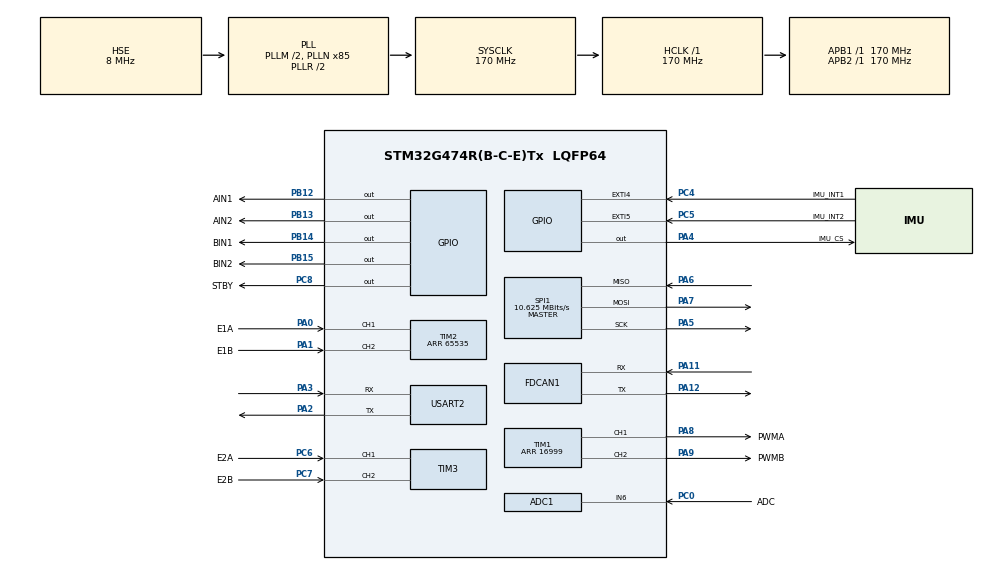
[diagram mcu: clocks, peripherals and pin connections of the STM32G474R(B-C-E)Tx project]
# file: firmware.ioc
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ADC1.Channel-0\#ChannelRegularConversion=ADC_CHANNEL_6
ADC1.NbrOfConversionFlag=1
ADC1.OffsetNumber-0\#ChannelRegularConversion=ADC_OFFSET_NONE
ADC1.Rank-0\#ChannelRegularConversion=1
ADC1.SamplingTime-0\#ChannelRegularConversion=ADC_SAMPLETIME_247CYCLES_5
ADC1.master=1
FDCAN1.CalculateBaudRateNominal=500000
FDCAN1.CalculateBaudRateData=2000000
FDCAN1.CalculateTimeBitData=500
FDCAN1.CalculateTimeBitNominal=2000
FDCAN1.CalculateTimeQuantumData=29.41176470588235
FDCAN1.CalculateTimeQuantumNominal=100.0
FDCAN1.AutoRetransmission=ENABLE
FDCAN1.DataPrescaler=5
FDCAN1.DataSyncJumpWidth=3
FDCAN1.DataTimeSeg1=13
FDCAN1.DataTimeSeg2=3
FDCAN1.FrameFormat=FDCAN_FRAME_FD_BRS
FDCAN1.NominalPrescaler=17
FDCAN1.NominalSyncJumpWidth=4
FDCAN1.NominalTimeSeg1=15
FDCAN1.NominalTimeSeg2=4
FDCAN1.ProtocolException=ENABLE
FDCAN1.StdFiltersNbr=1
FDCAN1.TransmitPause=ENABLE
FREERTOS.Tasks01=SupervisorTask,48,512,StartSupervisorTask,Default,NULL,Dynamic,NULL,NULL
FREERTOS.configCHECK_FOR_STACK_OVERFLOW=2
FREERTOS.configTOTAL_HEAP_SIZE=32768
FREERTOS.configUSE_MALLOC_FAILED_HOOK=1
IWDG.Prescaler=IWDG_PRESCALER_64
IWDG.Reload=1999
IWDG.Window=4095
Mcu.Family=STM32G4
Mcu.Name=STM32G474R(B-C-E)Tx
Mcu.Package=LQFP64
NVIC.EXTI4_IRQn=true\:5\:0\:true\:false\:true\:true\:true\:true\:true
NVIC.EXTI9_5_IRQn=true\:5\:0\:true\:false\:true\:true\:true\:true\:true
NVIC.FDCAN1_IT0_IRQn=true\:5\:0\:true\:false\:true\:true\:true\:true\:true
NVIC.PriorityGroup=NVIC_PRIORITYGROUP_4
NVIC.TIM6_DAC_IRQn=true\:15\:0\:false\:false\:true\:false\:false\:true\:true
NVIC.TimeBase=TIM6_DAC_IRQn
NVIC.TimeBaseIP=TIM6
NVIC.USART2_IRQn=true\:5\:0\:true\:false\:true\:true\:true\:true\:true
PA0.GPIO_Label=E1A
PA0.GPIO_PuPd=GPIO_PULLUP
PA0.Signal=S_TIM2_CH1
PA1.GPIO_Label=E1B
PA1.GPIO_PuPd=GPIO_PULLUP
PA1.Signal=S_TIM2_CH2
PA11.Mode=FDCAN_Activate
PA11.Signal=FDCAN1_RX
PA12.Mode=FDCAN_Activate
PA12.Signal=FDCAN1_TX
PA13.Mode=Serial_Wire
PA13.Signal=SYS_JTMS-SWDIO
PA14.Mode=Serial_Wire
PA14.Signal=SYS_JTCK-SWCLK
PA2.Mode=Asynchronous
PA2.Signal=USART2_TX
PA3.Mode=Asynchronous
PA3.Signal=USART2_RX
PA4.GPIO_Label=IMU_CS
PA4.PinState=GPIO_PIN_SET
PA4.Signal=GPIO_Output
PA5.Mode=Full_Duplex_Master
PA5.Signal=SPI1_SCK
PA6.Mode=Full_Duplex_Master
PA6.Signal=SPI1_MISO
PA7.Mode=Full_Duplex_Master
PA7.Signal=SPI1_MOSI
PA8.GPIO_Label=PWMA
PA8.Signal=S_TIM1_CH1
PA9.GPIO_Label=PWMB
PA9.Signal=S_TIM1_CH2
PB12.GPIO_Label=AIN1
PB12.Signal=GPIO_Output
PB13.GPIO_Label=AIN2
PB13.Signal=GPIO_Output
PB14.GPIO_Label=BIN1
PB14.Signal=GPIO_Output
PB15.GPIO_Label=BIN2
PB15.Signal=GPIO_Output
PC0.GPIO_Label=ADC
PC0.Mode=IN6-Single-Ended
PC0.Signal=ADC1_IN6
PC4.GPIO_Label=IMU_INT1
PC4.GPIO_PuPd=GPIO_PULLDOWN
PC4.Signal=GPXTI4
PC5.GPIO_Label=IMU_INT2
PC5.GPIO_PuPd=GPIO_PULLDOWN
PC5.Signal=GPXTI5
PC6.GPIO_Label=E2A
PC6.GPIO_PuPd=GPIO_PULLUP
PC6.Signal=S_TIM3_CH1
PC7.GPIO_Label=E2B
PC7.GPIO_PuPd=GPIO_PULLUP
PC7.Signal=S_TIM3_CH2
PC8.GPIO_Label=STBY
PC8.PinState=GPIO_PIN_RESET
PC8.Signal=GPIO_Output
PF0-OSC_IN.Mode=HSE-External-Oscillator
PF0-OSC_IN.Signal=RCC_OSC_IN
PF1-OSC_OUT.Mode=HSE-External-Oscillator
PF1-OSC_OUT.Signal=RCC_OSC_OUT
ProjectManager.HeapSize=0x200
ProjectManager.StackSize=0x400
ProjectManager.TargetToolchain=CMake
RCC.ADC12Freq_Value=170000000
RCC.ADC345Freq_Value=170000000
RCC.AHBFreq_Value=170000000
RCC.APB1Freq_Value=170000000
RCC.APB1TimFreq_Value=170000000
RCC.APB2Freq_Value=170000000
RCC.APB2TimFreq_Value=170000000
RCC.CortexFreq_Value=170000000
RCC.EXTERNAL_CLOCK_VALUE=12288000
RCC.HCLKFreq_Value=170000000
RCC.HSE_VALUE=8000000
RCC.HSI48_VALUE=48000000
RCC.HSI_VALUE=16000000
RCC.LSE_VALUE=32768
RCC.PLLM=RCC_PLLM_DIV2
RCC.PLLN=85
RCC.PLLSourceVirtual=RCC_PLLSOURCE_HSE
RCC.SYSCLKFreq_VALUE=170000000
RCC.SYSCLKSource=RCC_SYSCLKSOURCE_PLLCLK
RCC.USBFreq_Value=170000000
RCC.VCOOutputFreq_Value=340000000
SH.S_TIM1_CH1.0=TIM1_CH1,PWM Generation1 CH1
SH.S_TIM1_CH2.0=TIM1_CH2,PWM Generation2 CH2
SH.S_TIM2_CH1.0=TIM2_CH1,Encoder_Interface
SH.S_TIM2_CH2.0=TIM2_CH2,Encoder_Interface
SH.S_TIM3_CH1.0=TIM3_CH1,Encoder_Interface
SH.S_TIM3_CH2.0=TIM3_CH2,Encoder_Interface
SPI1.BaudRatePrescaler=SPI_BAUDRATEPRESCALER_16
SPI1.CalculateBaudRate=10.625 MBits/s
SPI1.DataSize=SPI_DATASIZE_8BIT
SPI1.Direction=SPI_DIRECTION_2LINES
SPI1.Mode=SPI_MODE_MASTER
SPI1.VirtualType=VM_MASTER
TIM1.AutoReloadPreload=TIM_AUTORELOAD_PRELOAD_ENABLE
TIM1.Channel-PWM\ Generation1\ CH1=TIM_CHANNEL_1
TIM1.Channel-PWM\ Generation2\ CH2=TIM_CHANNEL_2
TIM1.PeriodNoDither=16999
TIM2.EncoderMode=TIM_ENCODERMODE_TI12
TIM2.PeriodNoDither=65535
TIM3.EncoderMode=TIM_ENCODERMODE_TI12
USART2.VirtualMode-Asynchronous=VM_ASYNC
VP_FREERTOS_VS_CMSIS_V2.Mode=CMSIS_V2
VP_IWDG_VS_IWDG.Mode=IWDG_Activate
VP_SYS_VS_DBSignals.Mode=DisableDeadBatterySignals
VP_SYS_VS_tim6.Mode=TIM6
board=custom

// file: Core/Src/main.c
/* USER CODE BEGIN Header */
/**
  ******************************************************************************
  * @file           : main.c
  * @brief          : Main program body
  ******************************************************************************
  * @attention
  *
  * Copyright (c) 2026 STMicroelectronics.
  * All rights reserved.
  *
  * This software is licensed under terms that can be found in the LICENSE file
  * in the root directory of this software component.
  * If no LICENSE file comes with this software, it is provided AS-IS.
  *
  ******************************************************************************
  */
/* USER CODE END Header */
#include "main.h"
#include "cmsis_os.h"
#include "adc.h"
#include "fdcan.h"
#include "iwdg.h"
#include "spi.h"
#include "tim.h"
#include "usart.h"
#include "gpio.h"

/* USER CODE BEGIN Includes */
#include "app_motor.h"
#include "app_runtime.h"
/* USER CODE END Includes */

void SystemClock_Config(void);
void MX_FREERTOS_Init(void);

int main(void)
{

  /* MCU Configuration--------------------------------------------------------*/

  /* Reset of all peripherals, Initializes the Flash interface and the Systick. */
  HAL_Init();

  /* Configure the system clock */
  SystemClock_Config();

  /* USER CODE BEGIN SysInit */
  AppRuntime_EarlyInit();
  /* USER CODE END SysInit */

  /* Initialize all configured peripherals */
  MX_GPIO_Init();
  MX_ADC1_Init();
  MX_FDCAN1_Init();
  MX_SPI1_Init();
  MX_TIM1_Init();
  MX_TIM2_Init();
  MX_TIM3_Init();
  MX_USART2_UART_Init();
  MX_IWDG_Init();
  /* USER CODE BEGIN 2 */
  (void)AppRuntime_InitHardware();
  /* USER CODE END 2 */

  /* Init scheduler */
  osKernelInitialize();  /* Call init function for freertos objects (in cmsis_os2.c) */
  MX_FREERTOS_Init();

  /* Start scheduler */
  osKernelStart();

  /* We should never get here as control is now taken by the scheduler */

  /* Infinite loop */
  while (1)
  {

  }
}

void SystemClock_Config(void)
{
  RCC_OscInitTypeDef RCC_OscInitStruct = {0};
  RCC_ClkInitTypeDef RCC_ClkInitStruct = {0};

  /** Configure the main internal regulator output voltage
  */
  HAL_PWREx_ControlVoltageScaling(PWR_REGULATOR_VOLTAGE_SCALE1_BOOST);

  /** Initializes the RCC Oscillators according to the specified parameters
  * in the RCC_OscInitTypeDef structure.
  */
  RCC_OscInitStruct.OscillatorType = RCC_OSCILLATORTYPE_HSE;
  RCC_OscInitStruct.HSEState = RCC_HSE_ON;
  RCC_OscInitStruct.PLL.PLLState = RCC_PLL_ON;
  RCC_OscInitStruct.PLL.PLLSource = RCC_PLLSOURCE_HSE;
  RCC_OscInitStruct.PLL.PLLM = RCC_PLLM_DIV2;
  RCC_OscInitStruct.PLL.PLLN = 85;
  RCC_OscInitStruct.PLL.PLLP = RCC_PLLP_DIV2;
  RCC_OscInitStruct.PLL.PLLQ = RCC_PLLQ_DIV2;
  RCC_OscInitStruct.PLL.PLLR = RCC_PLLR_DIV2;
  if (HAL_RCC_OscConfig(&RCC_OscInitStruct) != HAL_OK)
  {
    Error_Handler();
  }

  /** Initializes the CPU, AHB and APB buses clocks
  */
  RCC_ClkInitStruct.ClockType = RCC_CLOCKTYPE_HCLK|RCC_CLOCKTYPE_SYSCLK
                              |RCC_CLOCKTYPE_PCLK1|RCC_CLOCKTYPE_PCLK2;
  RCC_ClkInitStruct.SYSCLKSource = RCC_SYSCLKSOURCE_PLLCLK;
  RCC_ClkInitStruct.AHBCLKDivider = RCC_SYSCLK_DIV1;
  RCC_ClkInitStruct.APB1CLKDivider = RCC_HCLK_DIV1;
  RCC_ClkInitStruct.APB2CLKDivider = RCC_HCLK_DIV1;

  if (HAL_RCC_ClockConfig(&RCC_ClkInitStruct, FLASH_LATENCY_4) != HAL_OK)
  {
    Error_Handler();
  }
}

void HAL_TIM_PeriodElapsedCallback(TIM_HandleTypeDef *htim)
{
  if (htim->Instance == TIM6)
  {
    HAL_IncTick();
  }
}

void Error_Handler(void)
{
  /* USER CODE BEGIN Error_Handler_Debug */
  AppMotor_EmergencySafe();
  __disable_irq();
  while (1)
  {
  }
  /* USER CODE END Error_Handler_Debug */
}

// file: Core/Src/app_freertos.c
/* USER CODE BEGIN Header */
/**
  ******************************************************************************
  * File Name          : app_freertos.c
  * Description        : Code for freertos applications
  ******************************************************************************
  * @attention
  *
  * Copyright (c) 2026 STMicroelectronics.
  * All rights reserved.
  *
  * This software is licensed under terms that can be found in the LICENSE file
  * in the root directory of this software component.
  * If no LICENSE file comes with this software, it is provided AS-IS.
  *
  ******************************************************************************
  */
/* USER CODE END Header */

#include "FreeRTOS.h"
#include "task.h"
#include "main.h"
#include "cmsis_os.h"

/* USER CODE BEGIN Includes */
#include "app_rtos.h"
#include "app_safety.h"
#include "app_state.h"
/* USER CODE END Includes */

/* Definitions for SupervisorTask */
osThreadId_t SupervisorTaskHandle;
const osThreadAttr_t SupervisorTask_attributes = {
  .name = "SupervisorTask",
  .priority = (osPriority_t) osPriorityRealtime,
  .stack_size = 512 * 4
};

void StartSupervisorTask(void *argument);

void MX_FREERTOS_Init(void); /* (MISRA C 2004 rule 8.1) */

/* Hook prototypes */
void vApplicationStackOverflowHook(xTaskHandle xTask, signed char *pcTaskName);
void vApplicationMallocFailedHook(void);

/* USER CODE BEGIN 4 */
void vApplicationStackOverflowHook(xTaskHandle xTask, signed char *pcTaskName)
{
  (void)xTask;
  (void)pcTaskName;
  AppSafety_ForceFault(APP_FAULT_RTOS_STACK_OVERFLOW);
  for (;;)
  {
  }
}
/* USER CODE END 4 */

/* USER CODE BEGIN 5 */
void vApplicationMallocFailedHook(void)
{
  AppSafety_ForceFault(APP_FAULT_RTOS_MALLOC_FAILURE);
  for (;;)
  {
  }
}
/* USER CODE END 5 */

void MX_FREERTOS_Init(void) {
  /* USER CODE BEGIN Init */
  if (!AppRtos_InitObjects())
  {
    AppSafety_ForceFault(0U);
  }
  /* USER CODE END Init */

  /* Create the thread(s) */
  /* creation of SupervisorTask */
  SupervisorTaskHandle = osThreadNew(StartSupervisorTask, NULL, &SupervisorTask_attributes);

  /* USER CODE BEGIN RTOS_THREADS */
  (void)AppRtos_CreateThreads();
  /* USER CODE END RTOS_THREADS */

}

void StartSupervisorTask(void *argument)
{
  /* USER CODE BEGIN StartSupervisorTask */
  AppRtos_SupervisorTask(argument);
  /* USER CODE END StartSupervisorTask */
}
